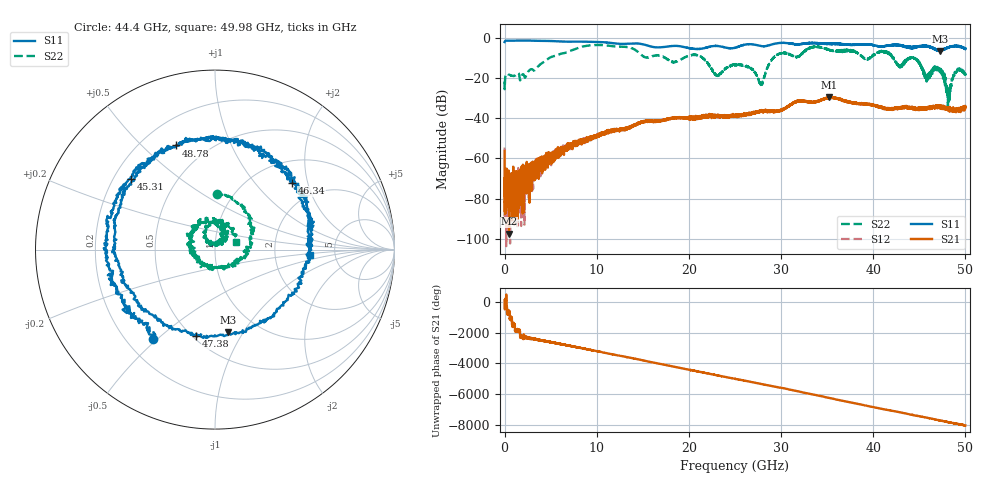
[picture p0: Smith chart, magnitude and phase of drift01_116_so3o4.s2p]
!Created with skrf (http://scikit-rf.org).
# Hz S RI R 50.0
!freq ReS11 ImS11 ReS21 ImS21 ReS12 ImS12 ReS22 ImS22
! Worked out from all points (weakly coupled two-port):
!   10001 points, 300 kHz to 50 GHz, reference 50 ohm
!   highest |S21| = -29.52 dB at 35.18 GHz (marker M1); lowest = -97.5 dB at 480.3 MHz (marker M2)
!   lowest |S11| = -6.6 dB at 47.24 GHz (marker M3), VSWR 2.74, Z = 36.7 - j43.1 ohm
!   |S11| at or under -10 dB: nowhere
!   |S22| runs from -34.6 to -3.6 dB; largest |S21 - S12| = 0.0043
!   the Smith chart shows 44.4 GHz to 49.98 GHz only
!   S11 on the Smith chart (normalised r, x): 44.4 GHz: 0.31, -0.48; 45.31 GHz: 0.27, +0.34; 46.34 GHz: 1.46, +1.60; 47.38 GHz: 0.52, -0.67; 48.78 GHz: 0.34, +0.64; 49.98 GHz: 3.21, -0.28
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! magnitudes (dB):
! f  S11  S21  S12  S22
! 300 kHz  -2.1  -56.3  -54.6  -21.8
! 255.3 MHz  -1.4  -79.4  -80.8  -18.0
! 480.3 MHz  -1.5  -97.5  -78.2  -18.3
! 8.335 GHz  -1.9  -52.0  -51.0  -4.5
! 16.67 GHz  -4.8  -41.4  -41.5  -8.7
! 20.97 GHz  -5.6  -40.1  -39.6  -8.8
! 23.08 GHz  -4.1  -38.8  -39.0  -18.9
! 25 GHz  -5.0  -39.0  -38.8  -13.8
! 27.85 GHz  -4.1  -36.8  -36.8  -23.1
! 29.47 GHz  -2.8  -36.9  -36.7  -8.8
! 33.34 GHz  -2.6  -32.1  -32.0  -4.8
! 35.18 GHz  -3.0  -29.5  -30.0  -6.0
! 41.67 GHz  -3.9  -35.5  -35.4  -7.8
! 44.4 GHz  -4.3  -34.9  -35.0  -10.1
! 45.31 GHz  -4.3  -35.4  -35.2  -16.1
! 46.34 GHz  -4.9  -35.0  -34.7  -17.2
! 47.24 GHz  -6.6  -34.3  -34.6  -17.1
! 47.38 GHz  -6.1  -34.9  -34.5  -17.0
! 48.14 GHz  -4.8  -35.6  -35.3  -29.4
! 48.78 GHz  -4.2  -35.9  -35.5  -18.6
! 49.98 GHz  -5.5  -34.7  -34.9  -18.0
! 50 GHz  -5.4  -34.5  -34.7  -18.1
